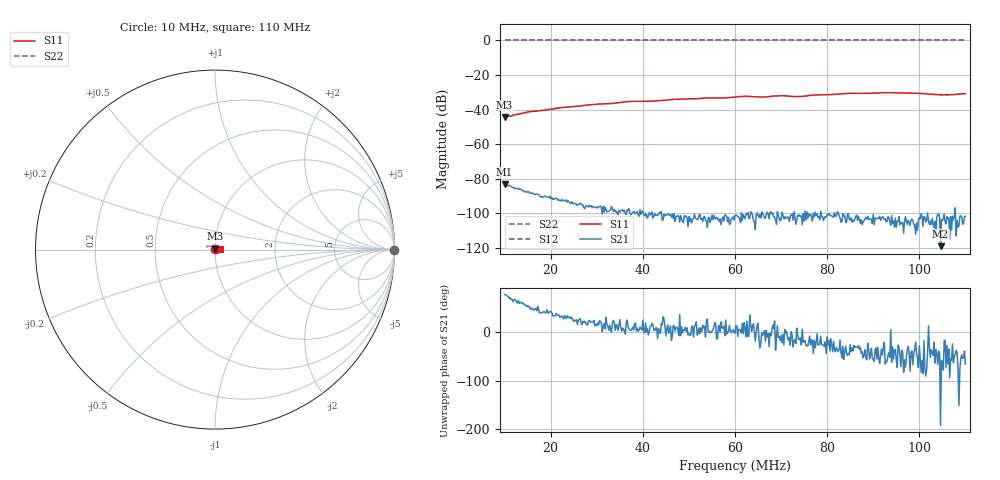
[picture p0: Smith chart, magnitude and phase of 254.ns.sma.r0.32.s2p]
! Anritsu VNA Master:  Model: MS2036C/10/77
! SN:  1601066
! /card0/usr/254.ns.sma.r0.32.s2p
! Existing Calibration Information:
! TYPE:  Current Settings,  Active Cal Settings
! TIME:  12/20/2017 02:14:05 PM,  12/20/2017 02:00:00 PM
! INTERNAL TEMP:  47.5 C,  47.0 C
! # POINTS:  501,  501
! START FREQ:  10.000 MHz,  10.000 MHz
! STOP FREQ:  110.000 MHz,  110.000 MHz
! SOURCE POWER:  High,  High
! IFBW:  100 Hz,  100 Hz
! AVG FACTOR:  1 ,  1
! REF PLANE 1:  0 mm,  0 mm
! REF PLANE 2:  0 mm,  0 mm
! CAL TYPE:  Full S11,  Full S11
! CAL METHOD:  SOLT,  SOLT
! CAL LINE TYPE:  Coax,  Coax
! DUT PORT 1:  N-Conn(F),  N-Conn(F)
! DUT PORT 2:  K-Conn(F),  K-Conn(F)
! CAL STATUS:  OK: Accuracy High,  --
# GHZ S DB R 50.0
! FREQ.GHZ  S11DB  S11A  S21DB  S21A  S12DB  S12A  S22DB  S22A
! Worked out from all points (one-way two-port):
!   501 points, 10 MHz to 110 MHz, reference 50 ohm
!   highest |S21| = -83.13 dB at 10 MHz (marker M1); lowest = -119.0 dB at 104.6 MHz (marker M2)
!   lowest |S11| = -44.2 dB at 10 MHz (marker M3), VSWR 1.01, Z = 50.2 + j0.567 ohm
!   |S11| at or under -10 dB: start of sweep to end of sweep
!   |S22| runs from 0.0 to 0.0 dB; largest |S21 - S12| = 1
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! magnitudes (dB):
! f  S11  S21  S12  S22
! 10 MHz  -44.2  -83.1  0.0  0.0
! 11.2 MHz  -43.6  -84.2  0.0  0.0
! 15.8 MHz  -41.2  -88.2  0.0  0.0
! 18.4 MHz  -40.3  -90.3  0.0  0.0
! 21.6 MHz  -39.0  -92.6  0.0  0.0
! 26.8 MHz  -37.7  -95.1  0.0  0.0
! 33.4 MHz  -36.4  -97.3  0.0  0.0
! 36.6 MHz  -35.4  -98.0  0.0  0.0
! 43.4 MHz  -34.8  -100.3  0.0  0.0
! 46.6 MHz  -34.1  -103.1  0.0  0.0
! 57.6 MHz  -33.3  -104.4  0.0  0.0
! 60 MHz  -32.8  -101.1  0.0  0.0
! 62.6 MHz  -32.3  -100.6  0.0  0.0
! 66.2 MHz  -32.7  -101.4  0.0  0.0
! 70 MHz  -31.9  -103.4  0.0  0.0
! 74.2 MHz  -32.4  -101.9  0.0  0.0
! 76.8 MHz  -31.7  -104.5  0.0  0.0
! 85 MHz  -30.6  -104.0  0.0  0.0
! 93.4 MHz  -30.2  -102.5  0.0  0.0
! 99.4 MHz  -30.6  -105.6  0.0  0.0
! 104.6 MHz  -31.5  -119.0  0.0  0.0
! 110 MHz  -30.8  -101.6  0.0  0.0
